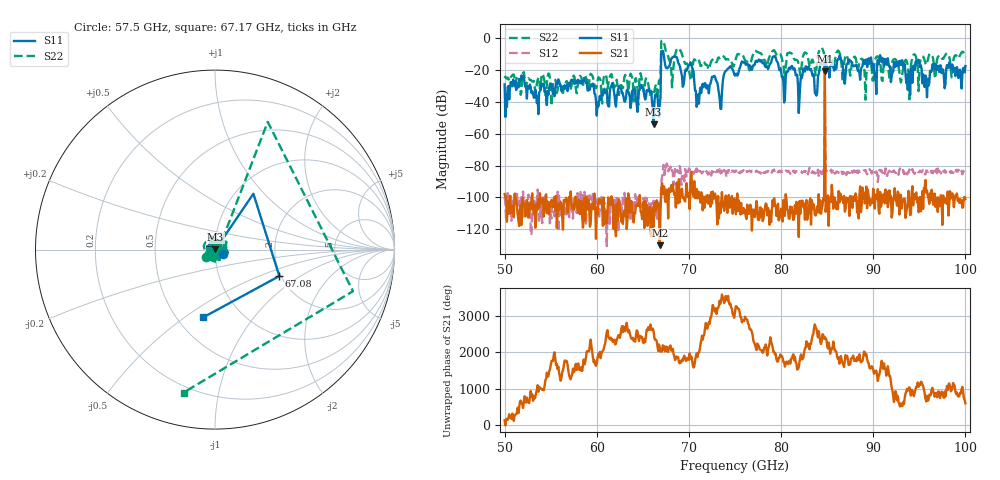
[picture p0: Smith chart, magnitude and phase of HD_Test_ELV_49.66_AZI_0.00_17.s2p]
! 11/25/2026 9:16:38 AM
! C:\ANRITSUVNA\TEMP\TEMP.S2P
! CHANNEL.1
! TR.MEASUREMENT
! RAW.DATA
# HZ S RI R 50.0
! FREQ.HZ  S11RE  S11IM  S21RE  S21IM  S12RE  S12IM  S22RE  S22IM
!; PortSelection: Port_12
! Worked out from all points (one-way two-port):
!   601 points, 50 GHz to 100 GHz, reference 50 ohm
!   highest |S21| = -21.08 dB at 84.75 GHz (marker M1); lowest = -130.0 dB at 66.83 GHz (marker M2)
!   lowest |S11| = -54.3 dB at 66.17 GHz (marker M3), VSWR 1.00, Z = 50.1 + j0.153 ohm
!   |S11| at or under -10 dB: start of sweep to 67 GHz; 67.24 GHz to end of sweep
!   |S22| runs from -42.7 to -1.8 dB; largest |S21 - S12| = 0.077
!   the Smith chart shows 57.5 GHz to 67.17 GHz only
!   S11 on the Smith chart (normalised r, x): 57.5 GHz: 1.09, -0.05; 67.08 GHz: 1.96, -0.68; 67.17 GHz: 0.67, -0.59
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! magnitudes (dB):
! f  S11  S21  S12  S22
! 50 GHz  -29.2  -97.9  -99.7  -25.3
! 57.5 GHz  -26.3  -107.8  -99.4  -23.7
! 58.42 GHz  -27.2  -111.6  -108.4  -29.0
! 60.17 GHz  -43.1  -103.6  -101.9  -24.8
! 61.67 GHz  -28.7  -103.3  -102.2  -24.5
! 66.17 GHz  -54.3  -118.4  -102.0  -35.4
! 66.67 GHz  -41.9  -104.1  -102.9  -32.1
! 66.83 GHz  -41.9  -130.0  -106.1  -26.8
! 67.08 GHz  -8.2  -91.1  -86.9  -1.9
! 67.17 GHz  -8.3  -98.0  -84.5  -1.8
! 70.17 GHz  -15.5  -89.8  -83.4  -25.7
! 70.92 GHz  -40.7  -100.6  -84.1  -13.3
! 75 GHz  -23.7  -105.6  -83.8  -15.0
! 79.25 GHz  -11.8  -100.5  -82.5  -7.9
! 80.25 GHz  -27.6  -101.6  -84.0  -17.7
! 83.42 GHz  -23.8  -107.0  -83.6  -13.8
! 84.75 GHz  -22.0  -21.1  -33.9  -11.4
! 91.67 GHz  -16.7  -103.1  -83.9  -20.5
! 93.75 GHz  -32.6  -103.2  -84.2  -17.3
! 94.83 GHz  -15.0  -100.1  -84.0  -20.3
! 95.83 GHz  -37.3  -95.6  -83.2  -15.9
! 100 GHz  -17.7  -100.9  -84.7  -12.2
